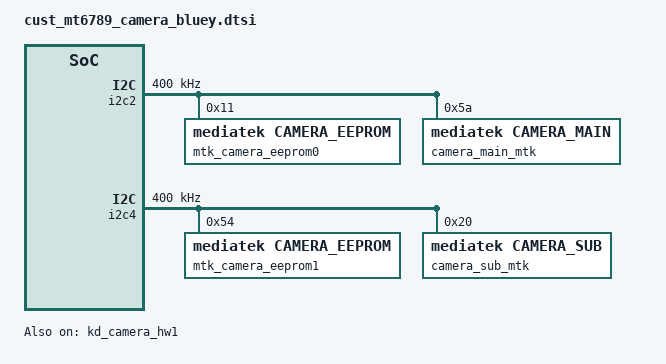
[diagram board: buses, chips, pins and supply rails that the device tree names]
// SPDX-License-Identifier: GPL-2.0
/* Copyright (c) 2020 MediaTek Inc. */
/* CAMERA GPIO standardization */
&pio {
	camera_pins_cam0_rst_0: cam0@0 {
		pins_cmd_dat {
			pinmux = <PINMUX_GPIO18__FUNC_GPIO18>;
			slew-rate = <1>;
			output-low;
		};
	};
	camera_pins_cam0_rst_1: cam0@1 {
		pins_cmd_dat {
			pinmux = <PINMUX_GPIO18__FUNC_GPIO18>;
			slew-rate = <1>;
			output-high;
		};
	};
	camera_pins_cam1_rst_0: cam1@0 {
		pins_cmd_dat {
			pinmux = <PINMUX_GPIO16__FUNC_GPIO16>;
			slew-rate = <1>;
			output-low;
		};
	};
	camera_pins_cam1_rst_1: cam1@1 {
		pins_cmd_dat {
			pinmux = <PINMUX_GPIO16__FUNC_GPIO16>;
			slew-rate = <1>;
			output-high;
		};
	};
	camera_pins_cam0_mclk_off: camera_pins_cam0_mclk_off {
		pins_cmd_dat {
			pinmux = <PINMUX_GPIO127__FUNC_GPIO127>;
			drive-strength = <1>;
		};
	};
	camera_pins_cam0_mclk_2ma: camera_pins_cam0_mclk_2ma {
		pins_cmd_dat {
			pinmux = <PINMUX_GPIO127__FUNC_CMMCLK1>;
			drive-strength = <0>;
		};
	};
	camera_pins_cam0_mclk_4ma: camera_pins_cam0_mclk_4ma {
		pins_cmd_dat {
			pinmux = <PINMUX_GPIO127__FUNC_CMMCLK1>;
			drive-strength = <1>;
		};
	};
	camera_pins_cam0_mclk_6ma: camera_pins_cam0_mclk_6ma {
		pins_cmd_dat {
			pinmux = <PINMUX_GPIO127__FUNC_CMMCLK1>;
			drive-strength = <2>;
		};
	};
	camera_pins_cam0_mclk_8ma: camera_pins_cam0_mclk_8ma {
		pins_cmd_dat {
			pinmux = <PINMUX_GPIO127__FUNC_CMMCLK1>;
			drive-strength = <3>;
		};
	};
	camera_pins_cam1_mclk_off: camera_pins_cam1_mclk_off {
		pins_cmd_dat {
			pinmux = <PINMUX_GPIO126__FUNC_GPIO126>;
			drive-strength = <1>;
		};
	};
	camera_pins_cam1_mclk_2ma: camera_pins_cam1_mclk_2ma {
		pins_cmd_dat {
			pinmux = <PINMUX_GPIO126__FUNC_CMMCLK0>;
			drive-strength = <0>;
		};
	};
	camera_pins_cam1_mclk_4ma: camera_pins_cam1_mclk_4ma {
		pins_cmd_dat {
			pinmux = <PINMUX_GPIO126__FUNC_CMMCLK0>;
			drive-strength = <1>;
		};
	};
	camera_pins_cam1_mclk_6ma: camera_pins_cam1_mclk_6ma {
		pins_cmd_dat {
			pinmux = <PINMUX_GPIO126__FUNC_CMMCLK0>;
			drive-strength = <2>;
		};
	};
	camera_pins_cam1_mclk_8ma: camera_pins_cam1_mclk_8ma {
		pins_cmd_dat {
			pinmux = <PINMUX_GPIO126__FUNC_CMMCLK0>;
			drive-strength = <3>;
		};
	};
	camera_pins_cam0_vcamd_0: cam0@vcam0 {
 		pins_cmd_dat {
 			pinmux = <PINMUX_GPIO64__FUNC_GPIO64>;
 			output-low;
 		};
 	};
 	camera_pins_cam0_vcamd_1: cam0@vcam1 {
 		pins_cmd_dat {
 			pinmux = <PINMUX_GPIO64__FUNC_GPIO64>;
 			output-high;
 		};
 	};
	camera_pins_cam0_vcama_0: cam0@vcam2 {
 		pins_cmd_dat {
 			pinmux = <PINMUX_GPIO63__FUNC_GPIO63>;
 			output-low;
 		};
 	};
 	camera_pins_cam0_vcama_1: cam0@vcam3 {
 		pins_cmd_dat {
 			pinmux = <PINMUX_GPIO63__FUNC_GPIO63>;
 			output-high;
 		};
 	};
	camera_pins_cam0_vcamio_0: cam0@vcam4 {
 		pins_cmd_dat {
 			pinmux = <PINMUX_GPIO65__FUNC_GPIO65>;
 			output-low;
 		};
 	};
 	camera_pins_cam0_vcamio_1: cam0@vcam5 {
 		pins_cmd_dat {
 			pinmux = <PINMUX_GPIO65__FUNC_GPIO65>;
 			output-high;
 		};
 	};
	camera_pins_cam1_vcamd_0: cam1@vcam0 {
 		pins_cmd_dat {
 			pinmux = <PINMUX_GPIO64__FUNC_GPIO64>;
 			output-low;
 		};
 	};
 	camera_pins_cam1_vcamd_1: cam1@vcam1 {
 		pins_cmd_dat {
 			pinmux = <PINMUX_GPIO64__FUNC_GPIO64>;
 			output-high;
 		};
 	};
	camera_pins_cam1_vcama_0: cam1@vcam2 {
 		pins_cmd_dat {
 			pinmux = <PINMUX_GPIO63__FUNC_GPIO63>;
 			output-low;
 		};
 	};
 	camera_pins_cam1_vcama_1: cam1@vcam3 {
 		pins_cmd_dat {
 			pinmux = <PINMUX_GPIO63__FUNC_GPIO63>;
 			output-high;
 		};
 	};
	camera_pins_cam1_vcamio_0: cam1@vcam4 {
 		pins_cmd_dat {
 			pinmux = <PINMUX_GPIO65__FUNC_GPIO65>;
 			output-low;
 		};
 	};
 	camera_pins_cam1_vcamio_1: cam1@vcam5 {
 		pins_cmd_dat {
 			pinmux = <PINMUX_GPIO65__FUNC_GPIO65>;
 			output-high;
 		};
 	};
	camera_pins_default: camdefault {
	};
};
&kd_camera_hw1 {
	pinctrl-names = "default",
			"cam0_rst0", "cam0_rst1",
			"cam1_rst0", "cam1_rst1",
			"cam0_mclk_off",
			"cam0_mclk_2mA", "cam0_mclk_4mA",
			"cam0_mclk_6mA", "cam0_mclk_8mA",
			"cam1_mclk_off",
			"cam1_mclk_2mA", "cam1_mclk_4mA",
			"cam1_mclk_6mA", "cam1_mclk_8mA",
			"cam0_ldo_vcamd_0", "cam0_ldo_vcamd_1",
			"cam0_ldo_vcama_0", "cam0_ldo_vcama_1",
			"cam0_ldo_vcamio_0", "cam0_ldo_vcamio_1",
			"cam1_ldo_vcamd_0", "cam1_ldo_vcamd_1",
			"cam1_ldo_vcama_0", "cam1_ldo_vcama_1",
			"cam1_ldo_vcamio_0", "cam1_ldo_vcamio_1";

	pinctrl-0 = <&camera_pins_default>;
	pinctrl-1 = <&camera_pins_cam0_rst_0>;
	pinctrl-2 = <&camera_pins_cam0_rst_1>;
	pinctrl-3 = <&camera_pins_cam1_rst_0>;
	pinctrl-4 = <&camera_pins_cam1_rst_1>;
	pinctrl-5 = <&camera_pins_cam0_mclk_off>;
	pinctrl-6 = <&camera_pins_cam0_mclk_2ma>;
	pinctrl-7 = <&camera_pins_cam0_mclk_4ma>;
	pinctrl-8 = <&camera_pins_cam0_mclk_6ma>;
	pinctrl-9 = <&camera_pins_cam0_mclk_8ma>;
	pinctrl-10 = <&camera_pins_cam1_mclk_off>;
	pinctrl-11 = <&camera_pins_cam1_mclk_2ma>;
	pinctrl-12 = <&camera_pins_cam1_mclk_4ma>;
	pinctrl-13 = <&camera_pins_cam1_mclk_6ma>;
	pinctrl-14 = <&camera_pins_cam1_mclk_8ma>;
	pinctrl-15 = <&camera_pins_cam0_vcamd_0>;
	pinctrl-16 = <&camera_pins_cam0_vcamd_1>;
	pinctrl-17 = <&camera_pins_cam0_vcama_0>;
	pinctrl-18 = <&camera_pins_cam0_vcama_1>;
	pinctrl-19 = <&camera_pins_cam0_vcamio_0>;
	pinctrl-20 = <&camera_pins_cam0_vcamio_1>;
	pinctrl-21 = <&camera_pins_cam1_vcamd_0>;
	pinctrl-22 = <&camera_pins_cam1_vcamd_1>;
	pinctrl-23 = <&camera_pins_cam1_vcama_0>;
	pinctrl-24 = <&camera_pins_cam1_vcama_1>;
	pinctrl-25 = <&camera_pins_cam1_vcamio_0>;
	pinctrl-26 = <&camera_pins_cam1_vcamio_1>;

	cam0_vcamaf-supply = <&mt6358_vibr_reg>; // afvdd

	cam0_pin_mclk = "mclk";
	cam0_pin_rst = "gpio";
	cam0_pin_vcama = "gpio";
	cam0_pin_vcamio = "gpio";
	cam0_pin_vcamd = "gpio";
	cam0_pin_vcamaf = "regulator";
	cam1_pin_mclk = "mclk";
	cam1_pin_rst = "gpio";
	cam1_pin_vcama = "gpio";
	cam1_pin_vcamio = "gpio";
	cam1_pin_vcamd = "gpio";

	cam0_enable_sensor = "hi846_mipi_raw_main_bluey gc08a3_mipi_raw_bluey";
	cam1_enable_sensor = "hi846sub_mipi_raw_front_bluey sc820cs_mipi_raw_bluey";
	status = "okay";
};
/* CAMERA GPIO end */

/* CAMERA EEPROM */
&i2c2 {
	status = "okay";
	clock-frequency = <400000>;
	#address-cells = <1>;
	#size-cells = <0>;

	mtk_camera_eeprom0:camera_eeprom0@11 {
		compatible = "mediatek,camera_eeprom";
		reg = <0x11>;
		status = "okay";
	};
	camera_main_mtk:camera_main@5a {
		compatible = "mediatek,camera_main";
		#thermal-sensor-cells = <0>;
		reg = <0x5a>;
		status = "okay";
	};
};
&i2c4 {
	status = "okay";
	clock-frequency = <400000>;
	#address-cells = <1>;
	#size-cells = <0>;

	mtk_camera_eeprom1:camera_eeprom1@54 {
		compatible = "mediatek,camera_eeprom";
		reg = <0x54>;
		status = "okay";
	};
	camera_sub_mtk:camera_sub@20 {
		compatible = "mediatek,camera_sub";
		#thermal-sensor-cells = <0>;
		reg = <0x20>;
		status = "okay";
	};
};
/* CAMERA EEPROM end */

/* CAMERA TZ config */
&thermal_zones {
	camera_main: camera_main {
		polling-delay = <1000>; /* milliseconds */
		polling-delay-passive = <0>; /* milliseconds */
		thermal-sensors = <&camera_main_mtk>;
	};
	camera_sub: camera_sub {
		polling-delay = <1000>; /* milliseconds */
		polling-delay-passive = <0>; /* milliseconds */
		thermal-sensors = <&camera_sub_mtk>;
	};
};
/* CAMERA TZ config end */
